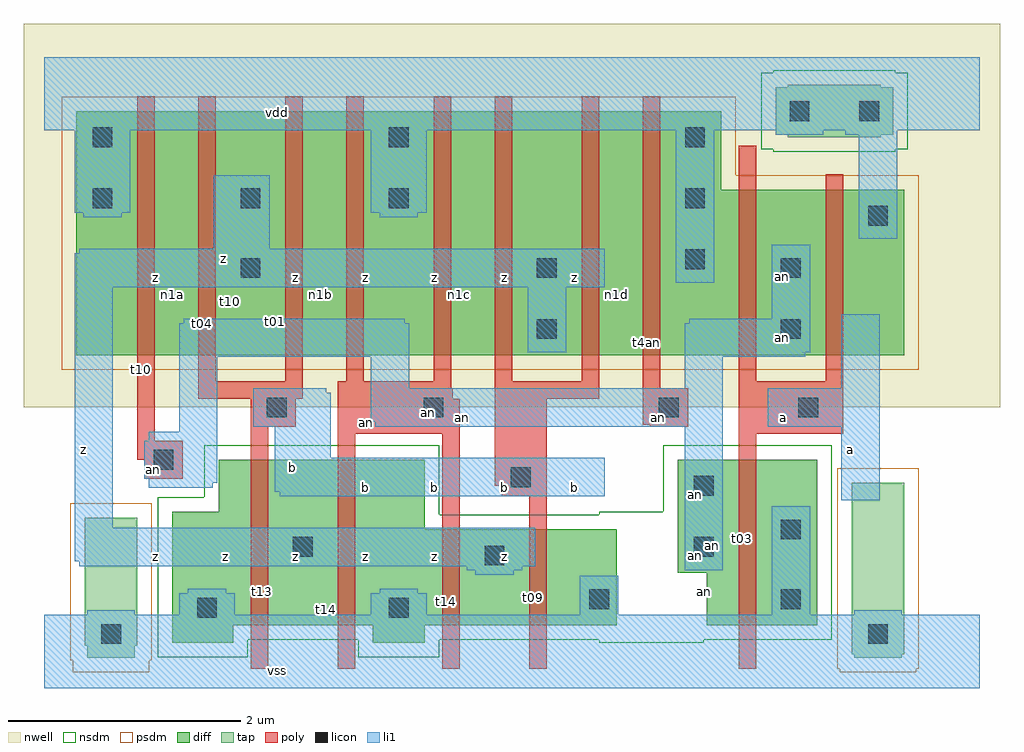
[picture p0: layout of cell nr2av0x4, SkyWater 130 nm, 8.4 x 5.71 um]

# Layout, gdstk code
import gdstk
lib = gdstk.Library(unit=1e-6, precision=5e-09)
def R(c, l, rs):  # rectangles x0, y0, x1, y1
    for r in rs: c.add(gdstk.rectangle(r[:2], r[2:], *l))
def A(c, l, x, y, w, h, nx, ny, dx, dy):  # array of equal rectangles
    R(c, l, [(x+i*dx, y+j*dy, x+i*dx+w, y+j*dy+h) for i in range(nx) for j in range(ny)])
nwell = (64, 20)
diff = (65, 20)
tap = (65, 44)
poly = (66, 20)
licon = (66, 44)
li1 = (67, 20)
nsdm = (93, 44)
psdm = (94, 20)

nr2av0x4 = lib.new_cell('nr2av0x4')
R(nr2av0x4, nwell, [(-0.3,2.4,8.1,5.7)])
R(nr2av0x4, diff, [(0.975,0.375,1.5,1.5), (2.7,0.375,3.15,1.95), (0.975,0.525,3.15,1.5), (0.975,0.525,4.8,1.35), (1.375,0.525,3.15,1.95), (5.575,0.525,6.525,1.95), (5.325,0.975,6.525,1.95), (0.15,2.85,5.7,4.95), (0.15,2.85,7.275,4.275)])
R(nr2av0x4, tap, [(0.245,0.245,0.655,1.45), (6.845,0.245,7.255,1.75), (6.825,0.275,7.275,1.75), (0.225,0.35,0.675,1.45), (6.275,4.725,7.075,5.175), (6.17,4.745,7.18,5.155)])
R(nr2av0x4, poly, [(1.65,0.15,1.8,2.625), (2.4,0.15,2.55,2.625), (3.3,0.15,3.45,2.475), (4.05,0.15,4.2,2.625), (5.85,0.15,6,4.65), (3.81,1.635,4.2,2.625), (3.75,1.725,4.2,2.625), (3.75,1.725,3.9,5.08), (0.735,1.785,1.065,2.115), (0.675,1.95,1.065,2.115), (0.675,1.95,0.825,5.08), (2.4,2.175,3.39,2.565), (2.4,2.175,3.45,2.475), (2.4,2.175,3.375,2.625), (2.475,2.175,2.625,5.08), (3.225,2.175,3.375,5.08), (5.85,2.175,6.75,2.625), (6.6,2.175,6.75,4.405), (1.65,2.235,2.04,2.625), (5.085,2.235,5.415,2.565), (5.025,2.25,5.415,2.565), (5.025,2.25,5.175,5.08), (1.2,2.475,1.35,5.08), (1.2,2.475,2.1,2.625), (1.95,2.475,2.1,5.08), (3.75,2.475,4.65,2.625), (4.5,2.475,4.65,5.08)])
A(nr2av0x4, licon, 0.29, 4.115, 0.17, 0.17, 3, 1, 1.275, 0)
A(nr2av0x4, licon, 0.29, 4.64, 0.17, 0.17, 3, 1, 2.55, 0)
R(nr2av0x4, licon, [(0.365,0.365,0.535,0.535), (6.965,0.365,7.135,0.535), (1.19,0.59,1.36,0.76), (2.84,0.59,3.01,0.76), (4.565,0.665,4.735,0.835), (6.215,0.665,6.385,0.835), (3.665,1.04,3.835,1.21), (2.015,1.115,2.185,1.285), (5.465,1.115,5.635,1.285), (6.215,1.265,6.385,1.435), (5.465,1.64,5.635,1.81), (3.89,1.715,4.06,1.885), (0.815,1.865,0.985,2.035), (1.79,2.315,1.96,2.485), (3.14,2.315,3.31,2.485), (5.165,2.315,5.335,2.485), (6.365,2.315,6.535,2.485), (4.115,2.99,4.285,3.16), (6.215,2.99,6.385,3.16), (1.565,3.515,1.735,3.685), (4.115,3.515,4.285,3.685), (6.215,3.515,6.385,3.685), (5.39,3.59,5.56,3.76), (6.965,3.965,7.135,4.135), (5.39,4.115,5.56,4.285), (6.29,4.865,6.46,5.035), (6.89,4.865,7.06,5.035)])
A(nr2av0x4, li1, 0.775, 1.035, 0.25, 0.33, 6, 1, 0.6, 0)
A(nr2av0x4, li1, 2.575, 1.635, 0.25, 0.33, 4, 1, 0.6, 0)
A(nr2av0x4, li1, 1.975, 3.435, 0.25, 0.33, 5, 1, 0.6, 0)
R(nr2av0x4, li1, [(-0.125,-0.015,7.925,0.615), (-0.125,-0.015,7.925,0.615), (0.245,-0.015,0.655,0.655), (1.035,-0.015,1.515,0.8), (1.11,-0.015,1.44,0.84), (2.685,-0.015,3.165,0.8), (2.76,-0.015,3.09,0.84), (4.485,-0.015,4.815,0.95), (6.135,-0.015,6.465,1.55), (6.845,-0.015,7.255,0.655), (3.585,0.96,3.915,1.365), (3.51,1,3.99,1.365), (5.385,1,5.715,3.125), (5.425,1,5.715,3.165), (0.175,1.035,0.465,3.765), (0.175,1.035,4.1,1.365), (0.135,1.075,0.465,3.725), (0.135,1.075,4.1,1.365), (6.735,1.6,7.065,3.2), (1.9,1.635,2.3,2.565), (1.9,1.635,2.34,2.525), (1.9,1.635,4.7,1.965), (0.135,1.675,0.465,3.125), (1.86,1.675,2.34,2.525), (1.86,1.675,2.3,2.565), (1.86,1.675,4.7,1.965), (1.935,1.675,2.265,2.525), (6.735,1.675,7.065,3.125), (0.775,1.71,1.325,2.19), (1.035,1.71,1.325,3.125), (1.075,1.71,1.325,3.165), (0.775,1.75,1.365,2.19), (1.035,1.75,1.365,3.125), (1.075,1.75,1.365,3.165), (0.735,1.785,1.365,2.115), (1.675,2.235,2.34,2.525), (1.675,2.235,2.3,2.565), (2.725,2.235,3.015,3.125), (2.725,2.235,5.715,2.565), (6.1,2.235,7.065,2.565), (6.175,2.235,6.425,2.565), (2.685,2.275,2.975,3.165), (2.685,2.275,3.015,3.125), (2.685,2.275,5.715,2.565), (1.035,2.835,3.015,3.125), (1.075,2.835,2.975,3.165), (5.385,2.835,6.425,3.125), (5.425,2.835,6.425,3.165), (5.425,2.835,6.425,3.165), (6.135,2.835,6.425,3.8), (4.035,2.875,4.365,3.765), (5.385,2.875,6.465,3.125), (5.385,2.875,6.465,3.125), (5.425,2.875,6.465,3.165), (5.425,2.875,6.465,3.165), (6.135,2.875,6.465,3.8), (0.135,3.435,4.7,3.725), (0.175,3.435,4.7,3.765), (0.775,3.435,1.025,3.765), (1.335,3.435,1.815,4.4), (1.335,3.475,1.665,4.325), (5.31,3.475,5.64,5.415), (6.885,3.85,7.215,5.415), (0.21,4.035,0.54,5.415), (2.76,4.035,3.09,5.415), (0.135,4.075,0.615,5.415), (2.685,4.075,3.165,5.415), (6.17,4.745,6.58,5.415), (6.77,4.745,7.215,5.415), (-0.125,4.785,7.925,5.415), (-0.125,4.785,7.925,5.415)])
R(nr2av0x4, nsdm, [(0.85,0.25,1.625,1.625), (2.575,0.25,3.275,2.075), (0.975,0.375,1.425,1.5), (0.975,0.375,1.425,1.5), (1.05,0.375,1.5,1.5), (1.05,0.375,1.5,1.5), (2.7,0.375,3.15,1.95), (2.7,0.375,3.15,1.95), (4.65,0.375,5.55,1.5), (5.25,0.375,5.55,2.075), (0.85,0.4,3.275,1.625), (0.85,0.4,6.65,1.475), (1.25,0.4,3.275,2.075), (4.65,0.4,6.65,1.5), (4.65,0.4,6.65,1.5), (5.2,0.4,6.65,2.075), (1.95,0.525,2.25,1.95), (1.95,0.525,2.25,1.95), (3.6,0.525,3.9,1.35), (3.6,0.525,3.9,1.35), (4.35,0.525,4.8,1.35), (4.35,0.525,4.8,1.35), (6.075,0.525,6.525,1.95), (6.075,0.525,6.525,1.95), (1.13,0.53,1.42,0.82), (2.78,0.53,3.07,0.82), (4.505,0.605,4.795,0.895), (6.155,0.605,6.445,0.895), (5.325,0.975,5.775,1.95), (5.325,0.975,5.775,1.95), (3.605,0.98,3.895,1.27), (1.955,1.055,2.245,1.345), (5.405,1.055,5.695,1.345), (6.155,1.205,6.445,1.495), (5.405,1.58,5.695,1.87), (6.15,4.6,7.2,5.3), (6.045,4.62,7.305,5.28)])
A(nr2av0x4, psdm, 0.23, 4.055, 0.29, 0.29, 3, 1, 1.275, 0)
A(nr2av0x4, psdm, 0.23, 4.58, 0.29, 0.29, 3, 1, 2.55, 0)
R(nr2av0x4, psdm, [(0.12,0.12,0.78,1.575), (6.72,0.12,7.38,1.875), (6.7,0.15,7.4,1.875), (0.1,0.225,0.8,1.575), (0.025,2.725,5.825,5.075), (0.025,2.725,7.4,4.4), (0.15,2.85,0.6,4.95), (0.15,2.85,0.6,4.95), (0.9,2.85,1.2,4.95), (0.9,2.85,1.2,4.95), (1.5,2.85,1.8,4.95), (1.5,2.85,1.8,4.95), (2.175,2.85,2.475,4.95), (2.175,2.85,2.475,4.95), (2.775,2.85,3.075,4.95), (2.775,2.85,3.075,4.95), (3.375,2.85,3.675,4.95), (3.375,2.85,3.675,4.95), (4.05,2.85,4.35,4.95), (4.05,2.85,4.35,4.95), (4.725,2.85,5.025,4.95), (4.725,2.85,5.025,4.95), (5.25,2.85,5.7,4.95), (5.25,2.85,5.7,4.95), (6.15,2.85,6.45,4.275), (6.15,2.85,6.45,4.275), (6.825,2.85,7.275,4.275), (6.825,2.85,7.275,4.275), (4.055,2.93,4.345,3.22), (6.155,2.93,6.445,3.22), (1.505,3.455,1.795,3.745), (4.055,3.455,4.345,3.745), (6.155,3.455,6.445,3.745), (5.33,3.53,5.62,3.82), (6.905,3.905,7.195,4.195), (5.33,4.055,5.62,4.345)])
nr2av0x4.add(gdstk.Label('t13', (1.755,0.815), layer=93, texttype=44))
nr2av0x4.add(gdstk.Label('an', (5.56,0.815), layer=93, texttype=44))
nr2av0x4.add(gdstk.Label('t14', (2.3,0.665), layer=93, texttype=44))
nr2av0x4.add(gdstk.Label('t10', (1.475,3.31), layer=94, texttype=20))
nr2av0x4.add(gdstk.Label('t01', (1.865,3.14), layer=94, texttype=20))
nr2av0x4.add(gdstk.Label('t13', (1.815,0.88), layer=65, texttype=20))
nr2av0x4.add(gdstk.Label('t14', (1.93,0.73), layer=65, texttype=20))
nr2av0x4.add(gdstk.Label('t10', (1.535,3.375), layer=65, texttype=20))
nr2av0x4.add(gdstk.Label('an', (5.625,1.215), layer=65, texttype=20))
nr2av0x4.add(gdstk.Label('t01', (1.93,3.205), layer=65, texttype=20))
nr2av0x4.add(gdstk.Label('an', (5.475,1.65), layer=93, texttype=44))
nr2av0x4.add(gdstk.Label('an', (5.475,1.125), layer=93, texttype=44))
nr2av0x4.add(gdstk.Label('an', (6.225,3.525), layer=94, texttype=20))
nr2av0x4.add(gdstk.Label('an', (6.225,3), layer=94, texttype=20))
nr2av0x4.add(gdstk.Label('n1d', (4.8,3.375), layer=94, texttype=20))
nr2av0x4.add(gdstk.Label('n1c', (3.45,3.375), layer=94, texttype=20))
nr2av0x4.add(gdstk.Label('n1b', (2.25,3.375), layer=94, texttype=20))
nr2av0x4.add(gdstk.Label('n1a', (0.975,3.375), layer=94, texttype=20))
nr2av0x4.add(gdstk.Label('an', (0.815,1.865), layer=66, texttype=20))
nr2av0x4.add(gdstk.Label('t04', (1.235,3.125), layer=66, texttype=20))
nr2av0x4.add(gdstk.Label('t10', (0.71,2.73), layer=66, texttype=20))
nr2av0x4.add(gdstk.Label('t08', (1.685,0.765), layer=66, texttype=20))
nr2av0x4.add(gdstk.Label('t13', (2.435,0.765), layer=66, texttype=20))
nr2av0x4.add(gdstk.Label('t05', (1.985,3.125), layer=66, texttype=20))
nr2av0x4.add(gdstk.Label('an', (2.645,2.27), layer=66, texttype=20))
nr2av0x4.add(gdstk.Label('t09', (4.085,0.765), layer=66, texttype=20))
nr2av0x4.add(gdstk.Label('t14', (3.335,0.73), layer=66, texttype=20))
nr2av0x4.add(gdstk.Label('an', (5.165,2.315), layer=66, texttype=20))
nr2av0x4.add(gdstk.Label('t4an', (5.06,2.955), layer=66, texttype=20))
nr2av0x4.add(gdstk.Label('t03', (5.885,1.275), layer=66, texttype=20))
nr2av0x4.add(gdstk.Label('an', (6.255,3.555), layer=66, texttype=44))
nr2av0x4.add(gdstk.Label('an', (6.255,3.03), layer=66, texttype=44))
nr2av0x4.add(gdstk.Label('an', (5.505,1.68), layer=66, texttype=44))
nr2av0x4.add(gdstk.Label('an', (5.505,1.155), layer=66, texttype=44))
nr2av0x4.add(gdstk.Label('an', (5.205,2.355), layer=66, texttype=44))
nr2av0x4.add(gdstk.Label('an', (3.18,2.355), layer=66, texttype=44))
nr2av0x4.add(gdstk.Label('an', (0.855,1.905), layer=66, texttype=44))
nr2av0x4.add(gdstk.Label('z', (0.835,1.115), layer=67, texttype=20))
nr2av0x4.add(gdstk.Label('an', (0.89,1.865), layer=67, texttype=20))
nr2av0x4.add(gdstk.Label('z', (0.215,2.035), layer=67, texttype=20))
nr2av0x4.add(gdstk.Label('z', (0.835,3.515), layer=67, texttype=20))
nr2av0x4.add(gdstk.Label('z', (2.635,1.115), layer=67, texttype=20))
nr2av0x4.add(gdstk.Label('z', (2.035,1.115), layer=67, texttype=20))
nr2av0x4.add(gdstk.Label('z', (1.435,1.115), layer=67, texttype=20))
nr2av0x4.add(gdstk.Label('b', (2.635,1.715), layer=67, texttype=20))
nr2av0x4.add(gdstk.Label('b', (2.015,1.885), layer=67, texttype=20))
nr2av0x4.add(gdstk.Label('z', (2.035,3.515), layer=67, texttype=20))
nr2av0x4.add(gdstk.Label('z', (2.635,3.515), layer=67, texttype=20))
nr2av0x4.add(gdstk.Label('z', (1.415,3.685), layer=67, texttype=20))
nr2av0x4.add(gdstk.Label('z', (3.835,1.115), layer=67, texttype=20))
nr2av0x4.add(gdstk.Label('z', (3.235,1.115), layer=67, texttype=20))
nr2av0x4.add(gdstk.Label('b', (3.235,1.715), layer=67, texttype=20))
nr2av0x4.add(gdstk.Label('b', (3.835,1.715), layer=67, texttype=20))
nr2av0x4.add(gdstk.Label('b', (4.435,1.715), layer=67, texttype=20))
nr2av0x4.add(gdstk.Label('z', (3.235,3.515), layer=67, texttype=20))
nr2av0x4.add(gdstk.Label('z', (3.835,3.515), layer=67, texttype=20))
nr2av0x4.add(gdstk.Label('z', (4.435,3.515), layer=67, texttype=20))
nr2av0x4.add(gdstk.Label('an', (3.47,2.315), layer=67, texttype=20))
nr2av0x4.add(gdstk.Label('an', (5.465,1.53), layer=67, texttype=20))
nr2av0x4.add(gdstk.Label('vss', (1.885,0.14), layer=67, texttype=20))
nr2av0x4.add(gdstk.Label('a', (6.815,2.035), layer=67, texttype=20))
nr2av0x4.add(gdstk.Label('a', (6.235,2.315), layer=67, texttype=20))
nr2av0x4.add(gdstk.Label('an', (6.215,3.105), layer=67, texttype=20))
nr2av0x4.add(gdstk.Label('vdd', (1.885,4.94), layer=67, texttype=20))

lib.write_gds('nr2av0x4.gds')
